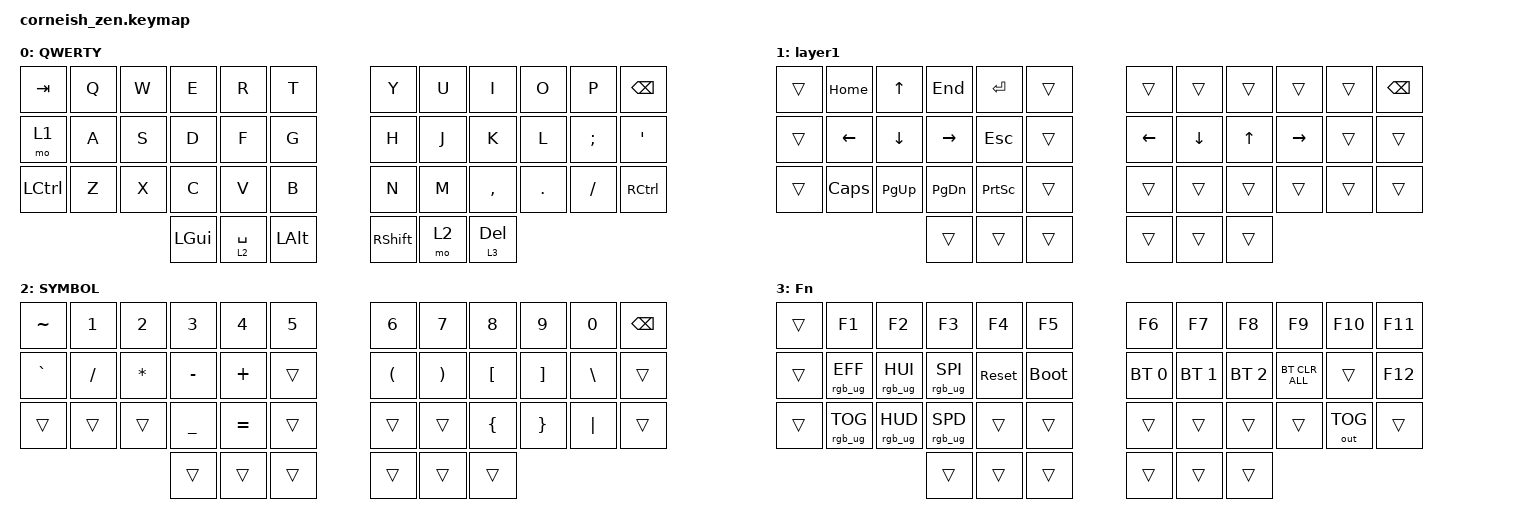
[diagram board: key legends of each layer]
/*
 * Copyright (c) 2020 The ZMK Contributors
 *
 * SPDX-License-Identifier: MIT
 */

#include <behaviors.dtsi>
#include <dt-bindings/zmk/bt.h>
#include <dt-bindings/zmk/keys.h>
#include <dt-bindings/zmk/outputs.h>
#include <dt-bindings/zmk/rgb.h>

/ {
    chosen {
        zmk,matrix_transform = &default_transform;

        // zmk,matrix_transform = &five_column_transform;
    };
};

/ {
    behaviors {
        td0: td0 {
            compatible = "zmk,behavior-tap-dance";
            label = "TD0";
            #binding-cells = <0>;
            bindings = <&kp LEFT_SHIFT>, <&kp CAPS>;
        };
    };

    keymap {
        compatible = "zmk,keymap";

        default_layer {
            display-name = "QWERTY";

            // --------------------------------------------------------------------------------
            // |  TAB |  Q  |  W  |  E  |  R  |  T  |   |  Y  |  U   |  I  |  O  |  P  | BKSP |
            // | CTRL |  A  |  S  |  D  |  F  |  G  |   |  H  |  J   |  K  |  L  |  ;  |  '   | 
            // | SHFT |  Z  |  X  |  C  |  V  |  B  |   |  N  |  M   |  ,  |  .  |  /  | ESC  |
            //                    | GUI | LWR | SPC |   | ENT | RSE  | ALT |

            bindings = <
&kp TAB    &kp Q  &kp W  &kp E     &kp R        &kp T           &kp Y       &kp U  &kp I         &kp O    &kp P     &kp BSPC
&mo 1      &kp A  &kp S  &kp D     &kp F        &kp G           &kp H       &kp J  &kp K         &kp L    &kp SEMI  &kp SQT
&kp LCTRL  &kp Z  &kp X  &kp C     &kp V        &kp B           &kp N       &kp M  &kp COMMA     &kp DOT  &kp FSLH  &kp RCTRL
                         &kp LGUI  &lt 2 SPACE  &kp LEFT_ALT    &kp RSHIFT  &mo 2  &lt 3 DELETE
            >;
        };

        nativagion {
            display-name = "layer1";

            // -----------------------------------------------------------------------------------------
            // |  TAB |  1  |  2  |  3  |  4  |  5  |   |  6  |  7  |  8  |  9  |  0  | BKSP |
            // | BTCLR| BT1 | BT2 | BT3 | BT4 | BT5 |   | LFT | DWN |  UP | RGT |     |      |
            // | SHFT |     |     |     |     |     |   |     |     |     |     |     |      |
            //                    | GUI |     | SPC |   | ENT |     | ALT |

            bindings = <
&trans  &kp HOME      &kp UP       &kp END        &kp ENTER        &trans    &trans    &trans    &trans  &trans     &trans  &kp BSPC
&trans  &kp LEFT      &kp DOWN     &kp RIGHT      &kp ESC          &trans    &kp LEFT  &kp DOWN  &kp UP  &kp RIGHT  &trans  &trans
&trans  &kp CAPSLOCK  &kp PAGE_UP  &kp PAGE_DOWN  &kp PRINTSCREEN  &trans    &trans    &trans    &trans  &trans     &trans  &trans
                                   &trans         &trans           &trans    &trans    &trans    &trans
            >;
        };

        raise_layer {
            display-name = "SYMBOL";

            // -----------------------------------------------------------------------------------------
            // |  TAB |  !  |  @  |  #  |  $  |  %  |   |  ^  |  &  |  *  |  (  |  )  | BKSP |
            // | CTRL |     |     |     |     |     |   |  -  |  =  |  [  |  ]  |  \  |  `   |
            // | SHFT |     |     |     |     |     |   |  _  |  +  |  {  |  }  | "|" |  ~   |
            //                    | GUI |     | SPC |   | ENT |     | ALT |

            bindings = <
&kp TILDE  &kp NUMBER_1  &kp NUMBER_2  &kp NUMBER_3    &kp NUMBER_4  &kp N5    &kp NUMBER_6          &kp N7                 &kp N8    &kp N9    &kp N0    &kp BSPC
&kp GRAVE  &kp SLASH     &kp ASTRK     &kp MINUS       &kp PLUS      &trans    &kp LEFT_PARENTHESIS  &kp RIGHT_PARENTHESIS  &kp LBKT  &kp RBKT  &kp BSLH  &trans
&trans     &trans        &trans        &kp UNDERSCORE  &kp EQUAL     &trans    &trans                &trans                 &kp LBRC  &kp RBRC  &kp PIPE  &trans
                                       &trans          &trans        &trans    &trans                &trans                 &trans
            >;
        };

        layer_3 {
            display-name = "Fn";
            bindings = <
&trans  &kp F1           &kp F2           &kp F3           &kp F4      &kp F5         &kp F6        &kp F7        &kp F8        &kp F9          &kp F10       &kp F11
&trans  &rgb_ug RGB_EFF  &rgb_ug RGB_HUI  &rgb_ug RGB_SPI  &sys_reset  &bootloader    &bt BT_SEL 0  &bt BT_SEL 1  &bt BT_SEL 2  &bt BT_CLR_ALL  &trans        &kp F12
&trans  &rgb_ug RGB_TOG  &rgb_ug RGB_HUD  &rgb_ug RGB_SPD  &trans      &trans         &trans        &trans        &trans        &trans          &out OUT_TOG  &trans
                                          &trans           &trans      &trans         &trans        &trans        &trans
            >;
        };
    };
};
